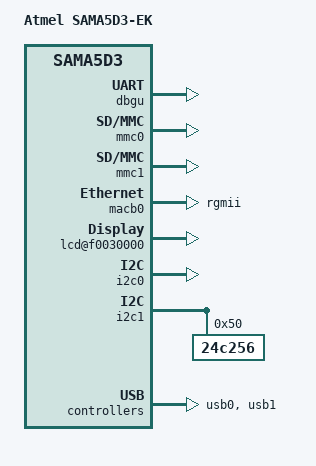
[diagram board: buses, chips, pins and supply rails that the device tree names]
/*
 * sama5d34ek.dts - Device Tree file for SAMA5-EK board
 *
 *  Copyright (C) 2012 Atmel,
 *                2012 Ludovic Desroches <ludovic.desroches@atmel.com>
 *
 * Licensed under GPLv2 or later.
 */
/dts-v1/;
/include/ "sama5d3.dtsi"
/include/ "sama5d3cm.dtsi"

/ {
	model = "Atmel SAMA5D3-EK";
	compatible = "atmel,sama5ek", "atmel,sama5d3", "atmel,sama5";

	chosen {
		bootargs = "console=ttyS0,115200 mtdparts=atmel_nand:8M(bootstrap/uboot/kernel)ro,-(rootfs) rw rootfstype=ubifs ubi.mtd=1 root=ubi0:rootfs";
	};

	ahb {
		apb {
			dbgu: serial@ffffee00 {
				status = "okay";
			};

			mmc0: mmc@f0000000 {
				status = "okay";
				slot@0 {
					reg = <0>;
					bus-width = <4>;
					cd-gpios = <&pioD 17 0>;
				};
			};

			mmc1: mmc@f8000000 {
				status = "okay";
				slot@0 {
					reg = <0>;
					bus-width = <4>;
					cd-gpios = <&pioD 18 0>;
				};
			};

			macb0: ethernet@f0028000 {
				phy-mode = "rgmii";
				status = "okay";
			};

			lcd@f0030000 {
				status = "okay";
			};

			lcdovl1@f0030140 {
				status = "okay";
			};

			i2c0: i2c@f0014000 {
				status = "okay";
			};

			i2c1: i2c@f0018000 {
				status = "okay";
				24c256@50 {
					compatible = "24c256";
					reg = <0x50>;
					pagesize = <64>;
				};
			};

			/* Enable LCD or ISI not both */
			isi: isi@f0034000 {
				status = "disabled";
			};

			tsadcc: tsadcc@f8018000 {
				atmel,tsadcc_clock = <300000>;
				atmel,filtering_average = <0x03>;
				atmel,pendet_debounce = <0x08>;
				atmel,pendet_sensitivity = <0x02>;
				atmel,ts_sample_hold_time = <0x0a>;
				status = "okay";
			};
		};

		usb0: ohci@00600000 {
			status = "okay";
			num-ports = <3>;
			atmel,vbus-gpio = <&pioD 25 1
					   &pioD 26 1
					   &pioD 27 1
					  >;
		};

		usb1: ehci@00700000 {
			status = "okay";
		};

	};
};
